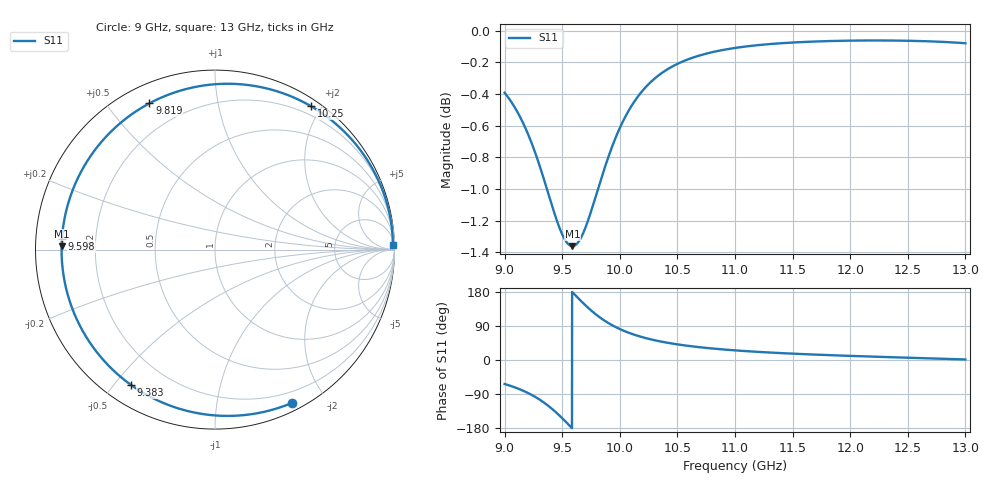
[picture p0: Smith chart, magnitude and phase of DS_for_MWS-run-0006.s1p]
! TOUCHSTONE file generated by CST DESIGN STUDIO
! Date and time: Tue Feb  4 14:00:16 2025
! Project name: C:\Work\MatlabApps\UnitCellOptimizationMatlab\CST\unitcell.cst
! Tree item: Tasks\Sweep1\SPara1\S-Parameters
! Header version: 2024
! Port assignment regex: !\s*Touchstone port\s*([0-9]+)\s*=\s*(CST MWS port|CST DES external port|CST DES block port)\s*(.+)\s* \(\"(.*)\"\)(\s*mode\s*([0-9]+))?.*
! Touchstone port assignment:
! Touchstone port 1 = CST DES external port 1 ("")
# GHz S MA R 50
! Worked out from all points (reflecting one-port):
!   4001 points, 9 GHz to 13 GHz, reference 50 ohm
!   lowest |S11| = -1.4 dB at 9.589 GHz (marker M1), VSWR 12.78, Z = 3.91 + j0.522 ohm
!   phase of S11 starts at -63 deg and turns -295 deg over the sweep
!   S11 on the Smith chart (normalised r, x): 9 GHz: 0.08, -1.62; 9.383 GHz: 0.08, -0.55; 9.598 GHz: 0.08, +0.04; 9.819 GHz: 0.08, +0.64; 10.25 GHz: 0.09, +1.87; 13 GHz: 27, +71
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9  0.9558 -63.3
9.046  0.9508 -67.7
9.114  0.9421 -75.1
9.231  0.9222 -91.4
9.312  0.9045 -106.1
9.383  0.8873 -121.8
9.441  0.8737 -136.7
9.5  0.8623 -153.6
9.546  0.8567 -167.7
9.589  0.8549 178.8
9.598  0.855 176.0
9.653  0.8589 158.8
9.715  0.8691 140.5
9.767  0.8806 126.6
9.819  0.8932 114.1
9.859  0.9027 105.6
9.901  0.9122 97.5
10  0.9316 81.7
10.116  0.9485 67.7
10.246  0.9614 56.2
10.364  0.9695 48.3
10.5  0.976 41.2
10.72  0.9827 32.8
11  0.9874 25.4
11.5  0.9913 16.7
12  0.9927 10.8
12.5  0.9926 6.0
13  0.9908 1.4
